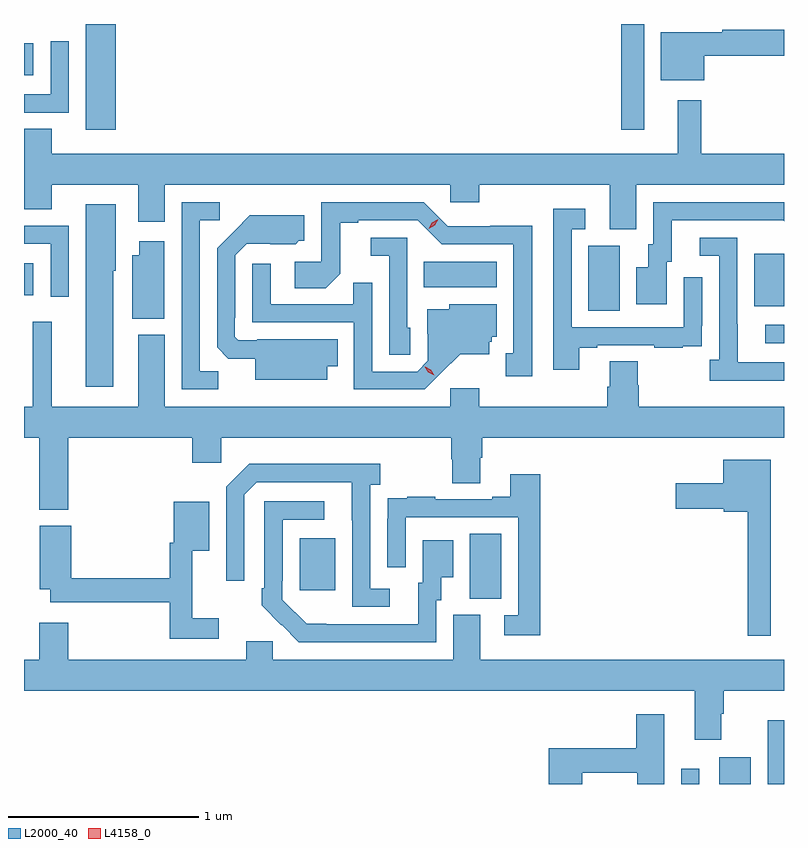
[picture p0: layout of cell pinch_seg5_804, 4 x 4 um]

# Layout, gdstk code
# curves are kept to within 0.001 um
import gdstk
lib = gdstk.Library(unit=1e-6, precision=1e-09)
def R(c, l, rs):  # rectangles x0, y0, x1, y1
    for r in rs: c.add(gdstk.rectangle(r[:2], r[2:], *l))
def P(c, l, *ps):  # polygons
    for p in ps: c.add(gdstk.Polygon(p, *l))
L2000_40 = (2000, 40)
L4158_0 = (4158, 0)

pinch_seg5_804 = lib.new_cell('pinch_seg5_804')
R(pinch_seg5_804, L2000_40, [(806.499,896.23,806.595,896.311), (806.699,896.23,806.866,896.371), (806.955,896.23,807.041,896.566), (805.388,897.205,805.552,897.548), (804.491,897.249,804.679,897.523), (806.943,898.551,807.041,898.647), (806.012,898.72,806.176,899.064), (806.885,898.745,807.041,899.02), (803.041,898.802,803.089,898.972), (805.144,898.844,805.528,898.978), (803.366,899.673,803.525,900.23), (806.184,899.673,806.305,900.23), (803.041,899.96,803.089,900.13)])
P(pinch_seg5_804, L2000_40, [(806.62,900.064),(807.041,900.064),(807.041,900.2),(806.716,900.2),(806.716,900.187),(806.393,900.187),(806.393,899.933),(806.62,899.933)],
  [(803.277,900.139),(803.181,900.139),(803.181,899.859),(803.041,899.859),(803.041,899.763),(803.277,899.763)],
  [(806.263,899.384),(807.041,899.384),(807.041,899.548),(806.605,899.548),(806.605,899.83),(806.483,899.83),(806.483,899.548),(803.188,899.548),(803.188,899.678),(803.041,899.678),(803.041,899.254),(803.188,899.254),(803.188,899.384),(803.642,899.384),(803.642,899.19),(803.782,899.19),(803.782,899.384),(805.284,899.384),(805.284,899.291),(805.436,899.291),(805.436,899.384),(806.123,899.384),(806.123,899.149),(806.263,899.149)],
  [(806.425,898.98),(806.449,898.98),(806.449,899.196),(807.037,899.196),(807.041,899.192),(807.041,899.292),(806.352,899.292),(806.352,899.07),(806.327,899.07),(806.327,898.951),(806.264,898.951),(806.264,898.755),(806.425,898.755)],
  [(804.063,898.403),(803.967,898.403),(803.967,899.196),(804.07,899.196),(804.07,899.292),(803.871,899.292),(803.871,898.308),(804.063,898.308)],
  [(805.717,899.168),(805.494,899.168),(805.494,899.166),(805.272,899.166),(805.146,899.292),(804.606,899.292),(804.606,898.98),(804.465,898.98),(804.465,898.84),(804.629,898.84),(804.705,898.916),(804.705,899.184),(804.799,899.184),(804.799,899.196),(805.113,899.196),(805.239,899.07),(805.616,899.07),(805.616,898.497),(805.577,898.497),(805.577,898.377),(805.717,898.377)],
  [(803.512,898.932),(803.524,898.932),(803.524,899.281),(803.366,899.281),(803.366,898.32),(803.512,898.32)],
  [(805.963,898.527),(806.059,898.527),(806.059,898.539),(806.359,898.539),(806.359,898.527),(806.507,898.527),(806.507,898.533),(806.609,898.533),(806.609,898.642),(806.61,898.642),(806.61,898.897),(806.514,898.897),(806.514,898.635),(805.923,898.635),(805.923,899.151),(805.996,899.151),(805.996,899.257),(805.827,899.257),(805.827,898.41),(805.963,898.41)],
  [(804.637,898.43),(804.692,898.43),(804.692,898.57),(804.268,898.57),(804.268,898.566),(804.168,898.566),(804.15,898.584),(804.15,898.684),(804.153,898.684),(804.153,899.013),(804.213,899.073),(804.47,899.072),(804.486,899.088),(804.517,899.088),(804.517,899.224),(804.229,899.224),(804.057,899.05),(804.057,898.528),(804.116,898.469),(804.257,898.469),(804.257,898.358),(804.637,898.358)],
  [(803.277,899.169),(803.041,899.169),(803.041,899.073),(803.181,899.073),(803.181,898.794),(803.277,898.794)],
  [(805.074,898.632),(805.059,898.632),(805.059,899.106),(804.867,899.106),(804.867,899.009),(804.963,899.009),(804.963,898.489),(805.074,898.489)],
  [(807.041,898.449),(806.797,898.449),(806.797,898.649),(806.796,898.649),(806.796,899.106),(806.598,899.106),(806.598,899.01),(806.7,899.01),(806.7,898.462),(806.649,898.462),(806.649,898.352),(807.041,898.352)],
  [(803.779,899.086),(803.648,899.086),(803.648,899.014),(803.612,899.014),(803.612,898.679),(803.779,898.679)],
  [(805.234,898.391),(805.337,898.493),(805.489,898.493),(805.489,898.557),(805.503,898.557),(805.503,898.584),(805.528,898.584),(805.528,898.756),(805.278,898.756),(805.278,898.729),(805.163,898.729),(805.163,898.6),(805.167,898.6),(805.167,898.458),(805.11,898.401),(804.873,898.401),(804.873,898.868),(804.775,898.868),(804.775,898.755),(804.339,898.755),(804.339,898.969),(804.243,898.969),(804.243,898.659),(804.777,898.659),(804.777,898.308),(805.15,898.308)],
  [(803.273,898.052),(803.927,898.052),(803.927,897.921),(804.078,897.921),(804.078,898.052),(805.289,898.052),(805.289,897.939),(805.294,897.939),(805.294,897.814),(805.441,897.814),(805.441,897.946),(805.454,897.946),(805.454,898.052),(807.041,898.052),(807.041,898.216),(806.276,898.216),(806.276,898.329),(806.271,898.329),(806.271,898.454),(806.123,898.454),(806.123,898.322),(806.111,898.322),(806.111,898.216),(805.436,898.216),(805.436,898.312),(805.284,898.312),(805.284,898.216),(803.782,898.216),(803.782,898.594),(803.642,898.594),(803.642,898.216),(803.186,898.216),(803.186,898.663),(803.087,898.663),(803.087,898.216),(803.041,898.216),(803.041,898.052),(803.12,898.052),(803.12,897.674),(803.273,897.674)],
  [(806.971,897.937),(806.72,897.937),(806.72,897.814),(806.472,897.814),(806.472,897.68),(806.724,897.68),(806.724,897.662),(806.85,897.662),(806.85,897.009),(806.971,897.009)],
  [(804.967,897.258),(804.864,897.258),(804.864,897.806),(804.916,897.806),(804.916,897.916),(804.226,897.916),(804.105,897.795),(804.105,897.3),(804.201,897.3),(804.201,897.753),(804.267,897.819),(804.767,897.819),(804.768,897.162),(804.967,897.162)],
  [(805.757,897.859),(805.601,897.859),(805.601,897.742),(805.505,897.742),(805.505,897.729),(805.205,897.729),(805.205,897.742),(805.057,897.742),(805.057,897.735),(804.955,897.735),(804.955,897.626),(804.954,897.626),(804.954,897.372),(805.05,897.372),(805.05,897.633),(805.641,897.633),(805.641,897.117),(805.569,897.117),(805.569,897.012),(805.757,897.012)],
  [(805.212,897.198),(805.237,897.198),(805.237,897.317),(805.3,897.317),(805.3,897.514),(805.139,897.514),(805.139,897.288),(805.115,897.288),(805.115,897.072),(804.528,897.073),(804.399,897.201),(804.399,897.301),(804.402,897.301),(804.402,897.621),(804.622,897.621),(804.622,897.717),(804.306,897.717),(804.306,897.259),(804.291,897.259),(804.291,897.171),(804.488,896.976),(805.212,896.976)],
  [(804.067,897.103),(803.927,897.103),(803.927,897.458),(804.016,897.458),(804.016,897.715),(803.828,897.715),(803.828,897.501),(803.809,897.501),(803.809,897.314),(803.29,897.314),(803.29,897.589),(803.123,897.589),(803.123,897.254),(803.18,897.254),(803.18,897.186),(803.809,897.186),(803.809,896.994),(804.067,896.994)],
  [(806.71,896.6),(806.723,896.6),(806.723,896.72),(807.041,896.72),(807.041,896.884),(805.441,896.884),(805.441,897.12),(805.301,897.12),(805.301,896.884),(804.351,896.884),(804.351,896.982),(804.212,896.982),(804.212,896.884),(803.273,896.884),(803.273,897.079),(803.12,897.079),(803.12,896.884),(803.041,896.884),(803.041,896.72),(806.57,896.72),(806.57,896.463),(806.71,896.463)],
  [(805.98,896.29),(806.269,896.29),(806.269,896.23),(806.41,896.23),(806.41,896.596),(806.264,896.596),(806.264,896.419),(805.802,896.419),(805.802,896.23),(805.98,896.23)])
P(pinch_seg5_804, L4158_0, [(805.171,899.152),(805.171,899.152),(805.188,899.184),(805.22,899.203),(805.22,899.203),(805.22,899.203),(805.203,899.171),(805.171,899.152)],
  [(805.2,898.381),(805.169,898.396),(805.151,898.426),(805.151,898.426),(805.152,898.426),(805.182,898.411),(805.2,898.381),(805.2,898.381)])

lib.write_gds('pinch_seg5_804.gds')
